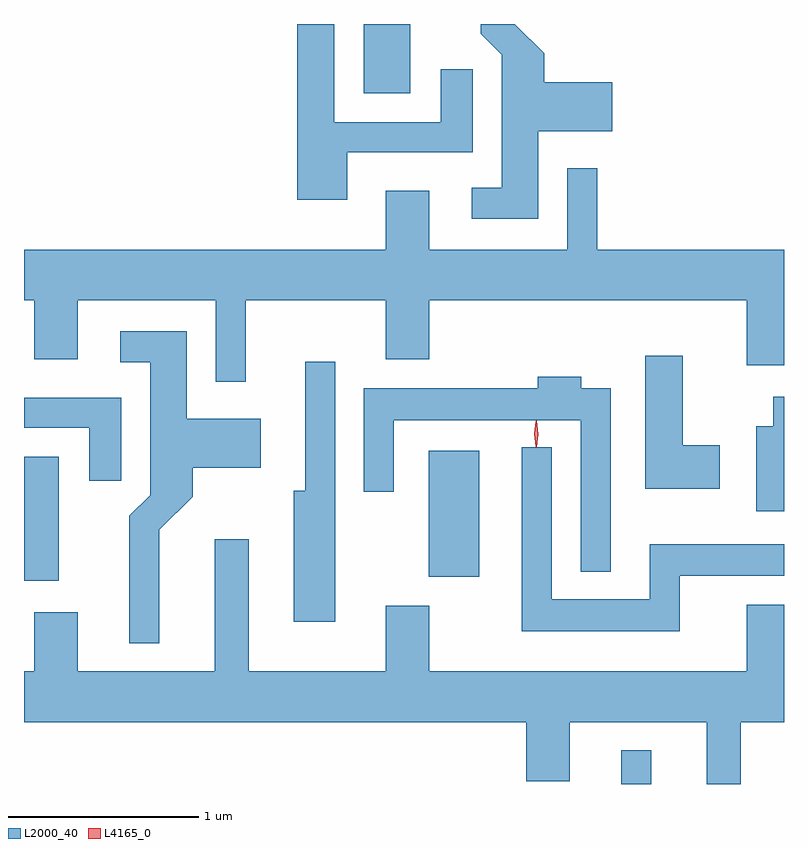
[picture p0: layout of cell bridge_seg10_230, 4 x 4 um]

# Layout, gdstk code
import gdstk
lib = gdstk.Library(unit=1e-6, precision=1e-09)
def R(c, l, rs):  # rectangles x0, y0, x1, y1
    for r in rs: c.add(gdstk.rectangle(r[:2], r[2:], *l))
def P(c, l, *ps):  # polygons
    for p in ps: c.add(gdstk.Polygon(p, *l))
L2000_40 = (2000, 40)
L4165_0 = (4165, 0)

bridge_seg10_230 = lib.new_cell('bridge_seg10_230')
R(bridge_seg10_230, L2000_40, [(1762.881,2095.831,1763.039,2096.008), (1759.737,2096.901,1759.919,2097.554), (1761.866,2096.921,1762.134,2097.584), (1761.526,2099.466,1761.769,2099.831)])
P(bridge_seg10_230, L2000_40, [(1762.444,2099.266),(1762.834,2099.266),(1762.834,2099.524),(1762.474,2099.524),(1762.474,2099.677),(1762.32,2099.831),(1762.141,2099.831),(1762.141,2099.779),(1762.251,2099.669),(1762.251,2098.969),(1762.093,2098.969),(1762.093,2098.806),(1762.444,2098.806)],
  [(1761.439,2099.156),(1762.099,2099.156),(1762.099,2099.593),(1761.931,2099.593),(1761.931,2099.314),(1761.369,2099.314),(1761.369,2099.831),(1761.176,2099.831),(1761.176,2098.906),(1761.439,2098.906)],
  [(1760.904,2098.376),(1761.641,2098.376),(1761.641,2098.066),(1761.869,2098.066),(1761.869,2098.376),(1763.541,2098.376),(1763.541,2098.036),(1763.737,2098.036),(1763.737,2098.644),(1762.754,2098.644),(1762.754,2099.073),(1762.596,2099.073),(1762.596,2098.644),(1761.869,2098.644),(1761.869,2098.954),(1761.641,2098.954),(1761.641,2098.644),(1759.737,2098.644),(1759.737,2098.376),(1759.791,2098.376),(1759.791,2098.066),(1760.019,2098.066),(1760.019,2098.376),(1760.746,2098.376),(1760.746,2097.948),(1760.904,2097.948)],
  [(1760.449,2097.169),(1760.624,2097.344),(1760.624,2097.496),(1760.984,2097.496),(1760.984,2097.754),(1760.594,2097.754),(1760.594,2098.214),(1760.243,2098.214),(1760.243,2098.051),(1760.401,2098.051),(1760.401,2097.352),(1760.291,2097.242),(1760.291,2096.573),(1760.449,2096.573)],
  [(1763.399,2097.614),(1763.204,2097.614),(1763.204,2098.084),(1763.006,2098.084),(1763.006,2097.386),(1763.399,2097.386)],
  [(1761.374,2098.053),(1761.216,2098.053),(1761.216,2097.374),(1761.156,2097.374),(1761.156,2096.686),(1761.374,2096.686)],
  [(1762.824,2097.914),(1762.669,2097.914),(1762.669,2097.974),(1762.441,2097.974),(1762.441,2097.914),(1761.526,2097.914),(1761.526,2097.368),(1761.684,2097.368),(1761.684,2097.746),(1762.666,2097.746),(1762.666,2096.948),(1762.824,2096.948)],
  [(1763.737,2097.869),(1763.681,2097.869),(1763.681,2097.714),(1763.591,2097.714),(1763.591,2097.266),(1763.737,2097.266)],
  [(1760.249,2097.864),(1759.737,2097.864),(1759.737,2097.706),(1760.081,2097.706),(1760.081,2097.428),(1760.249,2097.428)],
  [(1763.189,2096.926),(1763.737,2096.926),(1763.737,2097.094),(1763.031,2097.094),(1763.031,2096.804),(1762.514,2096.804),(1762.514,2097.603),(1762.356,2097.603),(1762.356,2096.636),(1763.189,2096.636)],
  [(1763.509,2096.156),(1763.737,2096.156),(1763.737,2096.774),(1763.541,2096.774),(1763.541,2096.424),(1761.869,2096.424),(1761.869,2096.769),(1761.641,2096.769),(1761.641,2096.424),(1760.919,2096.424),(1760.919,2097.119),(1760.741,2097.119),(1760.741,2096.424),(1760.019,2096.424),(1760.019,2096.734),(1759.791,2096.734),(1759.791,2096.424),(1759.737,2096.424),(1759.737,2096.156),(1762.381,2096.156),(1762.381,2095.846),(1762.609,2095.846),(1762.609,2096.156),(1763.331,2096.156),(1763.331,2095.831),(1763.509,2095.831)])
P(bridge_seg10_230, L4165_0, [(1762.431,2097.607),(1762.422,2097.674),(1762.431,2097.74),(1762.432,2097.74),(1762.432,2097.74),(1762.442,2097.674),(1762.432,2097.607),(1762.432,2097.607)],
  [(1762.434,2097.604),(1762.434,2097.604),(1762.424,2097.673),(1762.434,2097.742),(1762.434,2097.743),(1762.435,2097.742),(1762.444,2097.673),(1762.435,2097.604)])

lib.write_gds('bridge_seg10_230.gds')
